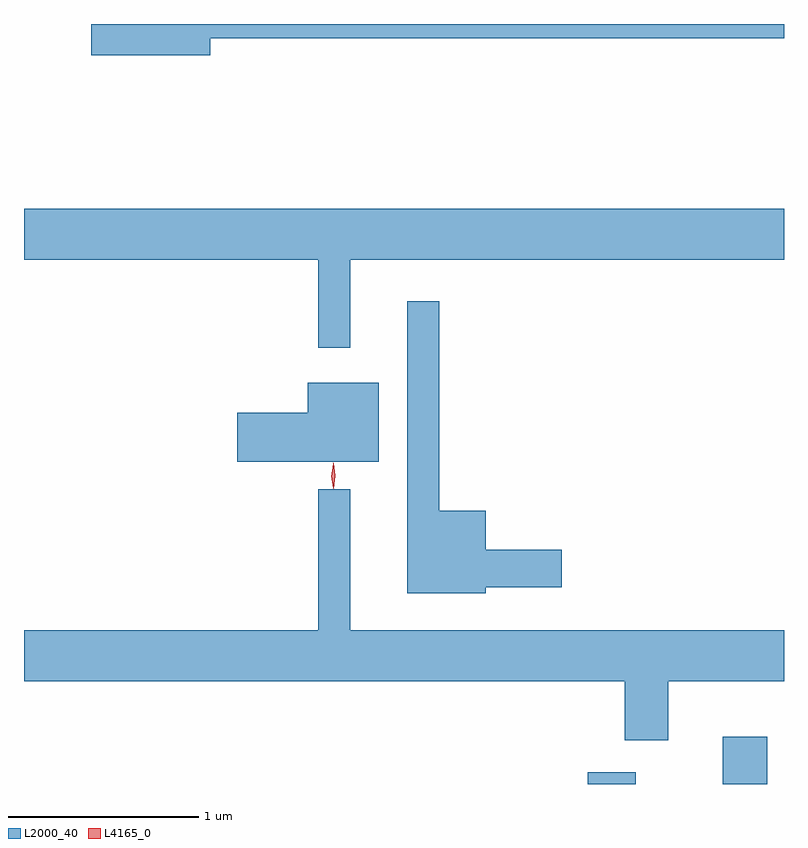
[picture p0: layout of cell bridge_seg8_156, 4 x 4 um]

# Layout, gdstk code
import gdstk
lib = gdstk.Library(unit=1e-6, precision=1e-09)
def R(c, l, rs):  # rectangles x0, y0, x1, y1
    for r in rs: c.add(gdstk.rectangle(r[:2], r[2:], *l))
def P(c, l, *ps):  # polygons
    for p in ps: c.add(gdstk.Polygon(p, *l))
L2000_40 = (2000, 40)
L4165_0 = (4165, 0)

bridge_seg8_156 = lib.new_cell('bridge_seg8_156')
R(bridge_seg8_156, L2000_40, [(1266.831,1922.456,1267.084,1922.519), (1267.541,1922.456,1267.774,1922.704)])
P(bridge_seg8_156, L2000_40, [(1264.844,1926.381),(1267.863,1926.381),(1267.863,1926.456),(1264.216,1926.456),(1264.216,1926.291),(1264.844,1926.291)],
  [(1265.579,1925.216),(1267.863,1925.216),(1267.863,1925.484),(1263.863,1925.484),(1263.863,1925.216),(1265.411,1925.216),(1265.411,1924.753),(1265.579,1924.753)],
  [(1266.294,1923.491),(1266.694,1923.491),(1266.694,1923.689),(1266.294,1923.689),(1266.294,1923.894),(1266.049,1923.894),(1266.049,1924.998),(1265.881,1924.998),(1265.881,1923.461),(1266.294,1923.461)],
  [(1265.729,1924.569),(1265.356,1924.569),(1265.356,1924.409),(1264.986,1924.409),(1264.986,1924.151),(1265.729,1924.151)],
  [(1267.254,1922.996),(1267.863,1922.996),(1267.863,1923.264),(1265.579,1923.264),(1265.579,1924.008),(1265.411,1924.008),(1265.411,1923.264),(1263.863,1923.264),(1263.863,1922.996),(1267.026,1922.996),(1267.026,1922.686),(1267.254,1922.686)])
P(bridge_seg8_156, L4165_0, [(1265.49,1924.013),(1265.481,1924.076),(1265.49,1924.139),(1265.491,1924.14),(1265.492,1924.139),(1265.501,1924.076),(1265.492,1924.013),(1265.491,1924.013)],
  [(1265.492,1924.01),(1265.492,1924.01),(1265.482,1924.078),(1265.491,1924.145),(1265.491,1924.146),(1265.492,1924.145),(1265.502,1924.078),(1265.493,1924.01)])

lib.write_gds('bridge_seg8_156.gds')
